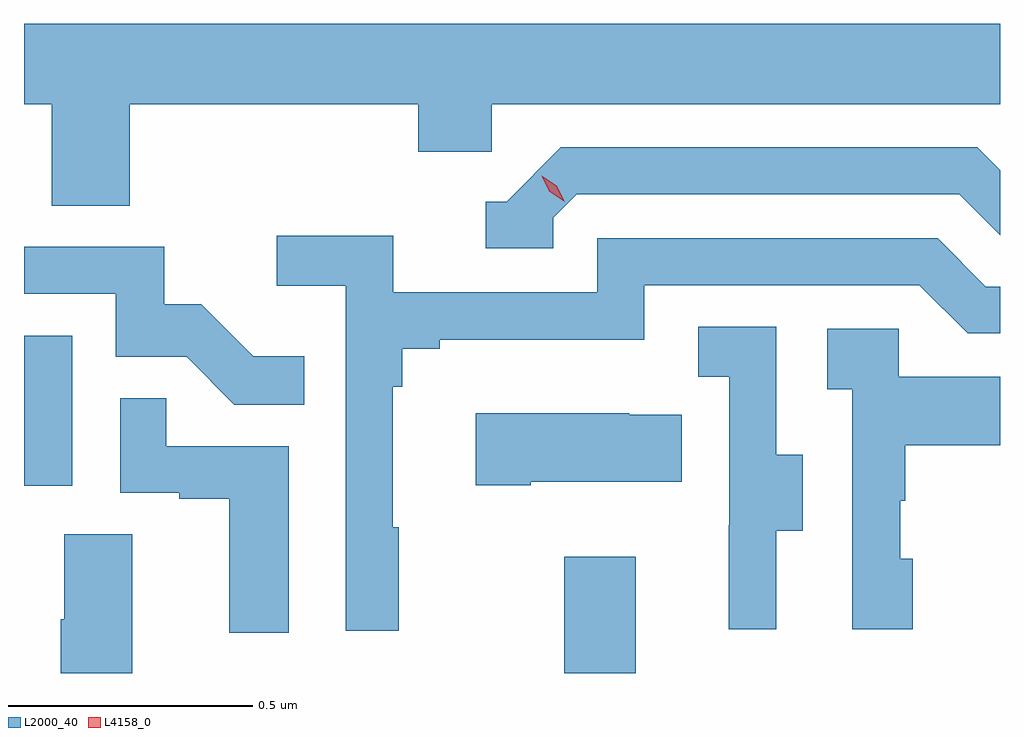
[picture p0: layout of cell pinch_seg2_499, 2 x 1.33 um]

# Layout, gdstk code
import gdstk
lib = gdstk.Library(unit=1e-6, precision=1e-09)
def R(c, l, rs):  # rectangles x0, y0, x1, y1
    for r in rs: c.add(gdstk.rectangle(r[:2], r[2:], *l))
def P(c, l, *ps):  # polygons
    for p in ps: c.add(gdstk.Polygon(p, *l))
L2000_40 = (2000, 40)
L4158_0 = (4158, 0)

pinch_seg2_499 = lib.new_cell('pinch_seg2_499')
R(pinch_seg2_499, L2000_40, [(913.522,601.182,913.669,601.42), (912.415,601.566,912.514,601.873)])
P(pinch_seg2_499, L2000_40, [(912.632,602.348),(913.223,602.348),(913.223,602.25),(913.374,602.25),(913.374,602.348),(914.415,602.348),(914.415,602.512),(912.415,602.512),(912.415,602.348),(912.472,602.348),(912.472,602.14),(912.632,602.14)],
  [(913.5,602.115),(913.548,602.163),(914.331,602.163),(914.415,602.079),(914.415,602.212),(914.368,602.259),(913.515,602.259),(913.404,602.148),(913.361,602.148),(913.361,602.052),(913.5,602.052)],
  [(913.183,601.481),(913.171,601.481),(913.171,601.769),(913.19,601.769),(913.19,601.846),(913.267,601.846),(913.267,601.865),(913.686,601.865),(913.686,601.977),(914.25,601.977),(914.349,601.878),(914.415,601.878),(914.415,601.974),(914.386,601.974),(914.287,602.073),(913.59,602.073),(913.59,601.962),(913.172,601.962),(913.172,602.078),(912.933,602.078),(912.933,601.976),(913.074,601.976),(913.074,601.269),(913.183,601.269)],
  [(912.989,601.831),(912.885,601.831),(912.778,601.938),(912.702,601.938),(912.702,602.055),(912.415,602.055),(912.415,601.959),(912.603,601.959),(912.603,601.83),(912.748,601.83),(912.846,601.732),(912.989,601.732)],
  [(913.957,601.474),(914.011,601.474),(914.011,601.629),(913.956,601.629),(913.956,601.892),(913.797,601.892),(913.797,601.789),(913.86,601.789),(913.86,601.485),(913.859,601.485),(913.859,601.272),(913.957,601.272)],
  [(914.236,601.416),(914.211,601.416),(914.211,601.535),(914.221,601.535),(914.221,601.649),(914.415,601.649),(914.415,601.789),(914.208,601.789),(914.208,601.887),(914.061,601.887),(914.061,601.763),(914.112,601.763),(914.112,601.272),(914.236,601.272)],
  [(912.958,601.647),(912.707,601.647),(912.707,601.745),(912.612,601.745),(912.612,601.551),(912.733,601.551),(912.733,601.539),(912.836,601.539),(912.836,601.265),(912.958,601.265)],
  [(913.453,601.574),(913.763,601.574),(913.763,601.711),(913.655,601.711),(913.655,601.714),(913.341,601.714),(913.341,601.567),(913.453,601.567)],
  [(912.637,601.466),(912.497,601.466),(912.497,601.292),(912.49,601.292),(912.49,601.182),(912.637,601.182)])
P(pinch_seg2_499, L4158_0, [(913.523,602.148),(913.492,602.168),(913.476,602.2),(913.476,602.201),(913.476,602.201),(913.507,602.181),(913.523,602.148),(913.523,602.148)])

lib.write_gds('pinch_seg2_499.gds')
